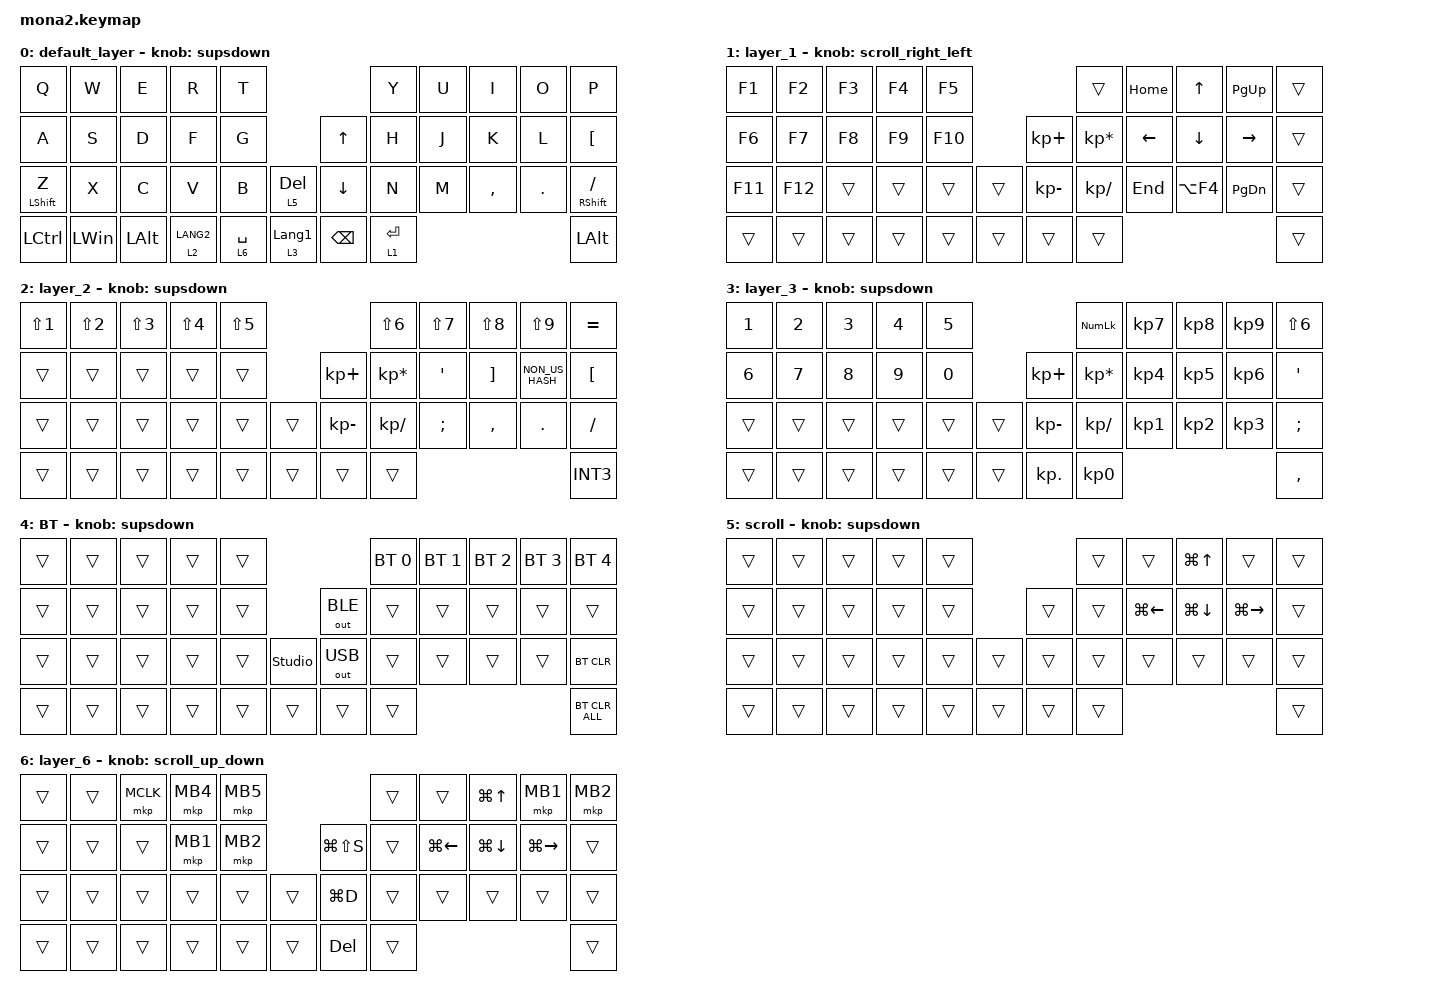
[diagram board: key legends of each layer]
#include <input/processors.dtsi>
#include <dt-bindings/zmk/input_transform.h>
#include <zephyr/dt-bindings/input/input-event-codes.h>
#include <behaviors.dtsi>
#include <dt-bindings/zmk/bt.h>
#include <dt-bindings/zmk/keys.h>
#include <dt-bindings/zmk/outputs.h>
#include <dt-bindings/zmk/pointing.h>

#define ZMK_POINTING_DEFAULT_SCRL_VAL 100
#define MOUSE 5
#define SCROLL 6

&mt {
    flavor = "balanced";
    quick-tap-ms = <0>;
};

&lt {
    quick-tap-ms = <300>;
    flavor = "balanced";
};

/ {
    combos {
        compatible = "zmk,combos";

        layer4_ESC {
            bindings = <&lt 4 ESC>;
            key-positions = <39 38>;
        };

        tab {
            bindings = <&kp TAB>;
            key-positions = <11 10>;
        };

        esc {
            bindings = <&kp ESC>;
            key-positions = <0 1>;
        };

        under {
            bindings = <&kp INT1>;
            key-positions = <32 31>;
        };

        haihun {
            bindings = <&kp MINUS>;
            key-positions = <9 8>;
        };

        ctrlshift {
            bindings = <&kp LC(LEFT_SHIFT)>;
            key-positions = <33 34>;
        };

        TABR {
            bindings = <&kp TAB>;
            key-positions = <19 20>;
        };
    };

    macros {
        to_layer_0: to_layer_0 {
            compatible = "zmk,behavior-macro-one-param";
            #binding-cells = <1>;
            bindings = <&to 0 &macro_param_1to1 &kp MACRO_PLACEHOLDER>;
            label = "TO_LAYER_0";
        };
    };

    behaviors {
        lt_to_layer_0: lt_to_layer_0 {
            compatible = "zmk,behavior-hold-tap";
            label = "LAYER_TAP_TO_0";
            bindings = <&mo>, <&to_layer_0>;

            #binding-cells = <2>;
            tapping-term-ms = <200>;
        };

        scroll_up_down: mouse_wheel_up_down {
            compatible = "zmk,behavior-sensor-rotate";
            #sensor-binding-cells = <0>;
            bindings = <&msc SCRL_DOWN>, <&msc SCRL_UP>;

            tap-ms = <20>;
        };

        scroll_right_left: mouse_wheel_right_left {
            compatible = "zmk,behavior-sensor-rotate";
            #sensor-binding-cells = <0>;
            bindings = <&msc SCRL_LEFT>, <&msc SCRL_RIGHT>;

            tap-ms = <20>;
        };

        supsdown: supsdown {
            compatible = "zmk,behavior-sensor-rotate";
            #sensor-binding-cells = <0>;
            bindings = <&msc SCRL_UP>, <&msc SCRL_DOWN>;

            tap-ms = <20>;
            label = "SUPSDOWN";
        };

        new_behavior: new_behavior {
            compatible = "zmk,behavior-sensor-rotate";
            #sensor-binding-cells = <0>;
            bindings = <&msc SCRL_UP>, <&msc SCRL_DOWN>;

            tap-ms = <20>;
            label = "NEW_BEHAVIOR";
        };
    };

    keymap {
        compatible = "zmk,keymap";

        default_layer {
            bindings = <
&kp Q             &kp W         &kp E         &kp R        &kp T                                           &kp Y      &kp U  &kp I      &kp O    &kp P
&kp A             &kp S         &kp D         &kp F        &kp G                            &kp UP         &kp H      &kp J  &kp K      &kp L    &kp LBKT
&mt LEFT_SHIFT Z  &kp X         &kp C         &kp V        &kp B        &lt 5 DELETE        &kp DOWN       &kp N      &kp M  &kp COMMA  &kp DOT  &mt RSHFT FSLH
&kp LCTRL         &kp LEFT_WIN  &kp LEFT_ALT  &lt 2 LANG2  &lt 6 SPACE  &lt 3 LANGUAGE_1    &kp BACKSPACE  &lt 1 RET                             &kp LEFT_ALT
            >;

            sensor-bindings = <&supsdown>;
        };

        layer_1 {
            bindings = <
&kp F1   &kp F2   &kp F3  &kp F4  &kp F5                           &trans           &kp HOME        &kp UP_ARROW    &kp PAGE_UP    &trans
&kp F6   &kp F7   &kp F8  &kp F9  &kp F10            &kp KP_PLUS   &kp KP_MULTIPLY  &kp LEFT_ARROW  &kp DOWN_ARROW  &kp RIGHT      &trans
&kp F11  &kp F12  &trans  &trans  &trans   &trans    &kp KP_MINUS  &kp KP_SLASH     &kp END         &kp LA(F4)      &kp PAGE_DOWN  &trans
&trans   &trans   &trans  &trans  &trans   &trans    &trans        &trans                                                          &trans
            >;

            sensor-bindings = <&scroll_right_left>;
        };

        layer_2 {
            bindings = <
&kp LS(N1)  &kp LS(N2)  &kp LS(N3)  &kp LS(N4)  &kp LS(N5)                          &kp LS(N6)       &kp LS(N7)        &kp LS(N8)         &kp LS(N9)       &kp EQUAL
&trans      &trans      &trans      &trans      &trans                &kp KP_PLUS   &kp KP_MULTIPLY  &kp SINGLE_QUOTE  &kp RIGHT_BRACKET  &kp NON_US_HASH  &kp LEFT_BRACKET
&trans      &trans      &trans      &trans      &trans      &trans    &kp KP_MINUS  &kp KP_SLASH     &kp SEMI          &kp COMMA          &kp DOT          &kp SLASH
&trans      &trans      &trans      &trans      &trans      &trans    &trans        &trans                                                                 &kp INT3
            >;

            sensor-bindings = <&supsdown>;
        };

        layer_3 {
            bindings = <
&kp NUMBER_1  &kp NUMBER_2  &kp NUMBER_3  &kp NUMBER_4  &kp NUMBER_5                          &kp KP_NUMLOCK   &kp KP_N7        &kp KP_N8        &kp KP_NUMBER_9  &kp LS(N6)
&kp NUMBER_6  &kp NUMBER_7  &kp NUMBER_8  &kp NUMBER_9  &kp NUMBER_0            &kp KP_PLUS   &kp KP_MULTIPLY  &kp KP_NUMBER_4  &kp KP_N5        &kp KP_NUMBER_6  &kp SQT
&trans        &trans        &trans        &trans        &trans        &trans    &kp KP_MINUS  &kp KP_SLASH     &kp KP_NUMBER_1  &kp KP_NUMBER_2  &kp KP_N3        &kp SEMI
&trans        &trans        &trans        &trans        &trans        &trans    &kp KP_DOT    &kp KP_NUMBER_0                                                     &kp COMMA
            >;

            sensor-bindings = <&supsdown>;
        };

        BT {
            bindings = <
&trans  &trans  &trans  &trans  &trans                                  &bt BT_SEL 0  &bt BT_SEL 1  &bt BT_SEL 2  &bt BT_SEL 3  &bt BT_SEL 4
&trans  &trans  &trans  &trans  &trans                    &out OUT_BLE  &trans        &trans        &trans        &trans        &trans
&trans  &trans  &trans  &trans  &trans  &studio_unlock    &out OUT_USB  &trans        &trans        &trans        &trans        &bt BT_CLR
&trans  &trans  &trans  &trans  &trans  &trans            &trans        &trans                                                  &bt BT_CLR_ALL
            >;

            sensor-bindings = <&supsdown>;
        };

        scroll {
            bindings = <
&trans  &trans  &trans  &trans  &trans                    &trans  &trans        &kp LG(UP)    &trans         &trans
&trans  &trans  &trans  &trans  &trans            &trans  &trans  &kp LG(LEFT)  &kp LG(DOWN)  &kp LG(RIGHT)  &trans
&trans  &trans  &trans  &trans  &trans  &trans    &trans  &trans  &trans        &trans        &trans         &trans
&trans  &trans  &trans  &trans  &trans  &trans    &trans  &trans                                             &trans
            >;

            sensor-bindings = <&supsdown>;
        };

        layer_6 {
            bindings = <
&trans  &trans  &mkp MCLK  &mkp MB4  &mkp MB5                           &trans  &trans        &kp LG(UP_ARROW)  &mkp MB1             &mkp MB2
&trans  &trans  &trans     &mkp MB1  &mkp MB2            &kp LG(LS(S))  &trans  &kp LG(LEFT)  &kp LG(DOWN)      &kp LG(RIGHT_ARROW)  &trans
&trans  &trans  &trans     &trans    &trans    &trans    &kp LG(D)      &trans  &trans        &trans            &trans               &trans
&trans  &trans  &trans     &trans    &trans    &trans    &kp DELETE     &trans                                                       &trans
            >;

            sensor-bindings = <&scroll_up_down>;
        };
    };
};
